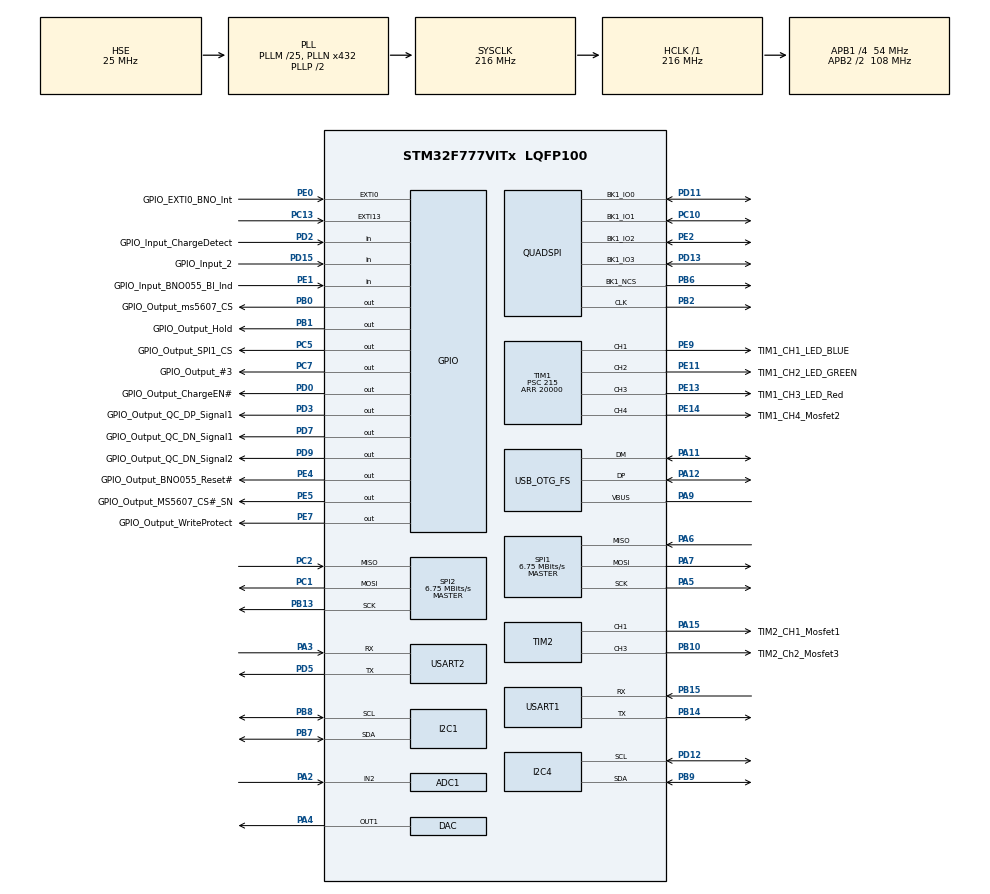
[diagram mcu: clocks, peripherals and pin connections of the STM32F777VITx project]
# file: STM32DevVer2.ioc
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ADC1.Channel-2\#ChannelRegularConversion=ADC_CHANNEL_2
ADC1.ContinuousConvMode=ENABLE
ADC1.DMAContinuousRequests=DISABLE
ADC1.NbrOfConversion=1
ADC1.NbrOfConversionFlag=1
ADC1.Rank-2\#ChannelRegularConversion=1
ADC1.SamplingTime-2\#ChannelRegularConversion=ADC_SAMPLETIME_84CYCLES
ADC1.ScanConvMode=ADC_SCAN_ENABLE
ADC1.master=1
Dma.Request0=USART1_RX
Dma.USART1_RX.0.Direction=DMA_PERIPH_TO_MEMORY
Dma.USART1_RX.0.FIFOMode=DMA_FIFOMODE_DISABLE
Dma.USART1_RX.0.Instance=DMA2_Stream2
Dma.USART1_RX.0.MemDataAlignment=DMA_MDATAALIGN_BYTE
Dma.USART1_RX.0.MemInc=DMA_MINC_ENABLE
Dma.USART1_RX.0.Mode=DMA_CIRCULAR
Dma.USART1_RX.0.PeriphDataAlignment=DMA_PDATAALIGN_BYTE
Dma.USART1_RX.0.PeriphInc=DMA_PINC_DISABLE
Dma.USART1_RX.0.Priority=DMA_PRIORITY_LOW
FATFS._MAX_SS=4096
FATFS._USE_EXPAND=1
FATFS._USE_FIND=1
FATFS._USE_FORWARD=1
FATFS._USE_LFN=2
I2C1.Timing=0x20404768
I2C4.Timing=0x20404768
Mcu.Family=STM32F7
Mcu.Name=STM32F777VITx
Mcu.Package=LQFP100
NVIC.ADC_IRQn=true\:0\:0\:false\:false\:true\:true\:true\:true
NVIC.DMA2_Stream2_IRQn=true\:0\:0\:false\:false\:true\:false\:true\:true
NVIC.EXTI15_10_IRQn=true\:0\:0\:false\:false\:true\:true\:true\:true
NVIC.I2C1_EV_IRQn=true\:0\:0\:false\:false\:true\:true\:true\:true
NVIC.I2C4_ER_IRQn=true\:0\:0\:false\:false\:true\:true\:true\:true
NVIC.I2C4_EV_IRQn=true\:0\:0\:false\:false\:true\:true\:true\:true
NVIC.OTG_FS_IRQn=true\:0\:0\:false\:false\:true\:true\:true\:true
NVIC.PriorityGroup=NVIC_PRIORITYGROUP_4
NVIC.QUADSPI_IRQn=true\:0\:0\:false\:false\:true\:true\:true\:true
NVIC.SPI1_IRQn=true\:0\:0\:false\:false\:true\:true\:true\:true
NVIC.SPI2_IRQn=true\:0\:0\:false\:false\:true\:true\:true\:true
NVIC.USART1_IRQn=true\:0\:0\:false\:false\:true\:true\:true\:true
NVIC.USART2_IRQn=true\:0\:0\:false\:false\:true\:true\:true\:true
PA11.Mode=Device_Only
PA11.Signal=USB_OTG_FS_DM
PA12.Mode=Device_Only
PA12.Signal=USB_OTG_FS_DP
PA13.Mode=Serial_Wire
PA13.Signal=SYS_JTMS-SWDIO
PA14.Mode=Serial_Wire
PA14.Signal=SYS_JTCK-SWCLK
PA15.GPIO_Label=TIM2_CH1_Mosfet1
PA15.Signal=S_TIM2_CH1_ETR
PA2.Signal=ADCx_IN2
PA3.Mode=Asynchronous
PA3.Signal=USART2_RX
PA4.Signal=COMP_DAC1_group
PA5.Mode=Full_Duplex_Master
PA5.Signal=SPI1_SCK
PA6.Mode=Full_Duplex_Master
PA6.Signal=SPI1_MISO
PA7.Mode=Full_Duplex_Master
PA7.Signal=SPI1_MOSI
PA9.Mode=Activate_VBUS
PA9.Signal=USB_OTG_FS_VBUS
PB0.GPIO_Label=GPIO_Output_ms5607_CS
PB0.PinState=GPIO_PIN_SET
PB0.Signal=GPIO_Output
PB1.GPIO_Label=GPIO_Output_Hold
PB1.PinState=GPIO_PIN_SET
PB1.Signal=GPIO_Output
PB10.GPIO_Label=TIM2_Ch2_Mosfet3
PB10.Signal=S_TIM2_CH3
PB13.Mode=Full_Duplex_Master
PB13.Signal=SPI2_SCK
PB14.Mode=Asynchronous
PB14.Signal=USART1_TX
PB15.Mode=Asynchronous
PB15.Signal=USART1_RX
PB2.Mode=Single Bank 1
PB2.Signal=QUADSPI_CLK
PB6.Mode=Single Bank 1
PB6.Signal=QUADSPI_BK1_NCS
PB7.Mode=I2C
PB7.Signal=I2C1_SDA
PB8.Mode=I2C
PB8.Signal=I2C1_SCL
PB9.Mode=I2C
PB9.Signal=I2C4_SDA
PC1.Mode=Full_Duplex_Master
PC1.Signal=SPI2_MOSI
PC10.Mode=Single Bank 1
PC10.Signal=QUADSPI_BK1_IO1
PC13.GPIO_ModeDefaultEXTI=GPIO_MODE_IT_RISING_FALLING
PC13.Signal=GPXTI13
PC2.Mode=Full_Duplex_Master
PC2.Signal=SPI2_MISO
PC5.GPIO_Label=GPIO_Output_SPI1_CS
PC5.PinState=GPIO_PIN_SET
PC5.Signal=GPIO_Output
PC7.GPIO_Label=GPIO_Output_\#3
PC7.Signal=GPIO_Output
PD0.GPIO_Label=GPIO_Output_ChargeEN\#
PD0.PinState=GPIO_PIN_SET
PD0.Signal=GPIO_Output
PD11.Mode=Single Bank 1
PD11.Signal=QUADSPI_BK1_IO0
PD12.Mode=I2C
PD12.Signal=I2C4_SCL
PD13.Mode=Single Bank 1
PD13.Signal=QUADSPI_BK1_IO3
PD15.GPIO_Label=GPIO_Input_2
PD15.Signal=GPIO_Input
PD2.GPIO_Label=GPIO_Input_ChargeDetect
PD2.Signal=GPIO_Input
PD3.GPIO_Label=GPIO_Output_QC_DP_Signal1
PD3.Signal=GPIO_Output
PD5.Mode=Asynchronous
PD5.Signal=USART2_TX
PD7.GPIO_Label=GPIO_Output_QC_DN_Signal1
PD7.Signal=GPIO_Output
PD9.GPIO_Label=GPIO_Output_QC_DN_Signal2
PD9.Signal=GPIO_Output
PE0.GPIO_Label=GPIO_EXTI0_BNO_Int
PE0.Signal=GPXTI0
PE1.GPIO_Label=GPIO_Input_BNO055_BI_Ind
PE1.Signal=GPIO_Input
PE11.GPIO_Label=TIM1_CH2_LED_GREEN
PE11.Signal=S_TIM1_CH2
PE13.GPIO_Label=TIM1_CH3_LED_Red
PE13.Signal=S_TIM1_CH3
PE14.GPIO_Label=TIM1_CH4_Mosfet2
PE14.Signal=S_TIM1_CH4
PE2.Mode=Single Bank 1
PE2.Signal=QUADSPI_BK1_IO2
PE4.GPIO_Label=GPIO_Output_BNO055_Reset\#
PE4.PinState=GPIO_PIN_SET
PE4.Signal=GPIO_Output
PE5.GPIO_Label=GPIO_Output_MS5607_CS\#_SN
PE5.Signal=GPIO_Output
PE7.GPIO_Label=GPIO_Output_WriteProtect
PE7.PinState=GPIO_PIN_SET
PE7.Signal=GPIO_Output
PE9.GPIO_Label=TIM1_CH1_LED_BLUE
PE9.Signal=S_TIM1_CH1
PH0/OSC_IN.Mode=HSE-External-Oscillator
PH0/OSC_IN.Signal=RCC_OSC_IN
PH1/OSC_OUT.Mode=HSE-External-Oscillator
PH1/OSC_OUT.Signal=RCC_OSC_OUT
ProjectManager.HeapSize=0x200
ProjectManager.StackSize=0x400
ProjectManager.TargetToolchain=STM32CubeIDE
QUADSPI.ClockPrescaler=54
QUADSPI.FifoThreshold=32
QUADSPI.FlashSize=23
QUADSPI.SampleShifting=QSPI_SAMPLE_SHIFTING_HALFCYCLE
RCC.AHBFreq_Value=216000000
RCC.APB1CLKDivider=RCC_HCLK_DIV4
RCC.APB1Freq_Value=54000000
RCC.APB1TimFreq_Value=108000000
RCC.APB2CLKDivider=RCC_HCLK_DIV2
RCC.APB2Freq_Value=108000000
RCC.APB2TimFreq_Value=216000000
RCC.CortexFreq_Value=216000000
RCC.HCLKFreq_Value=216000000
RCC.HSE_VALUE=25000000
RCC.HSI_VALUE=16000000
RCC.LSE_VALUE=32768
RCC.PLLM=25
RCC.PLLN=432
RCC.PLLQ=9
RCC.SYSCLKFreq_VALUE=216000000
RCC.SYSCLKSource=RCC_SYSCLKSOURCE_PLLCLK
RCC.USBFreq_Value=48000000
RCC.VCOOutputFreq_Value=432000000
SH.ADCx_IN2.0=ADC1_IN2,IN2
SH.COMP_DAC1_group.0=DAC_OUT1,DAC_OUT1
SH.S_TIM1_CH1.0=TIM1_CH1,PWM Generation1 CH1
SH.S_TIM1_CH2.0=TIM1_CH2,PWM Generation2 CH2
SH.S_TIM1_CH3.0=TIM1_CH3,PWM Generation3 CH3
SH.S_TIM1_CH4.0=TIM1_CH4,PWM Generation4 CH4
SH.S_TIM2_CH1_ETR.0=TIM2_CH1,PWM Generation1 CH1
SH.S_TIM2_CH3.0=TIM2_CH3,PWM Generation3 CH3
SPI1.BaudRatePrescaler=SPI_BAUDRATEPRESCALER_16
SPI1.CalculateBaudRate=6.75 MBits/s
SPI1.DataSize=SPI_DATASIZE_8BIT
SPI1.Direction=SPI_DIRECTION_2LINES
SPI1.Mode=SPI_MODE_MASTER
SPI1.VirtualType=VM_MASTER
SPI2.BaudRatePrescaler=SPI_BAUDRATEPRESCALER_8
SPI2.CalculateBaudRate=6.75 MBits/s
SPI2.DataSize=SPI_DATASIZE_8BIT
SPI2.Direction=SPI_DIRECTION_2LINES
SPI2.Mode=SPI_MODE_MASTER
SPI2.VirtualType=VM_MASTER
STMicroelectronics.X-CUBE-DISPLAY.3.0.0_IsPackSelfContextualization=true
TIM1.AutoReloadPreload=TIM_AUTORELOAD_PRELOAD_ENABLE
TIM1.Channel-PWM\ Generation1\ CH1=TIM_CHANNEL_1
TIM1.Channel-PWM\ Generation2\ CH2=TIM_CHANNEL_2
TIM1.Channel-PWM\ Generation3\ CH3=TIM_CHANNEL_3
TIM1.Channel-PWM\ Generation4\ CH4=TIM_CHANNEL_4
TIM1.Period=20000
TIM1.Prescaler=215
TIM2.Channel-PWM\ Generation1\ CH1=TIM_CHANNEL_1
TIM2.Channel-PWM\ Generation3\ CH3=TIM_CHANNEL_3
USART1.VirtualMode-Asynchronous=VM_ASYNC
USART2.VirtualMode-Asynchronous=VM_ASYNC
USB_DEVICE.CLASS_NAME_FS=CDC
USB_DEVICE.VirtualMode-CDC_FS=Cdc
USB_DEVICE.VirtualModeFS=Cdc_FS
USB_OTG_FS.Sof_enable=ENABLE
USB_OTG_FS.VirtualMode=Device_Only
USB_OTG_FS.lpm_enable=ENABLE
VP_FATFS_VS_Generic.Mode=User_defined
VP_TIM1_VS_ClockSourceINT.Mode=Internal
VP_USB_DEVICE_VS_USB_DEVICE_CDC_FS.Mode=CDC_FS
board=custom

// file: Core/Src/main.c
/* USER CODE BEGIN Header */
/**
 ******************************************************************************
 * @file           : main.c
 * @brief          : Main program body
 ******************************************************************************
 * @attention
 *
 * Copyright (c) 2024 STMicroelectronics.
 * All rights reserved.
 *
 * This software is licensed under terms that can be found in the LICENSE file
 * in the root directory of this software component.
 * If no LICENSE file comes with this software, it is provided AS-IS.
 *
 ******************************************************************************
 */
/* USER CODE END Header */
#include "main.h"
#include "adc.h"
#include "dac.h"
#include "dma.h"
#include "fatfs.h"
#include "i2c.h"
#include "quadspi.h"
#include "spi.h"
#include "tim.h"
#include "usart.h"
#include "usb_device.h"
#include "gpio.h"

/* USER CODE BEGIN Includes */
// #include "stm32746g_qspi.h"
#include "usbd_core.h"
#include "usbd_desc.h"
#include "usbd_cdc.h"
#include "usbd_cdc_if.h"
/* USER CODE END Includes */

/* USER CODE BEGIN PV */
bool isRecordingActivated = false;

uint8_t baroArrayCounter = 0;
uint8_t baroReadingArray[100] = {0};

uint32_t baroInitSampleTime = 0;

uint32_t OneHzCycleTimestamp = 0;
uint32_t TenthHzCycleTimestamp = 0;

uint32_t lastLogWrittenTimestamp = 0;

float versionID = 1.000;
float buildID = 1.060;

tState unitState = INIT;

tBARODATA ms5607Baro = {0};

tDATACHANNEL usbDataChannel = {0};
/* USER CODE END PV */

void SystemClock_Config(void);

int main(void)
{

  /* MCU Configuration--------------------------------------------------------*/

  /* Reset of all peripherals, Initializes the Flash interface and the Systick. */
  HAL_Init();

  /* Configure the system clock */
  SystemClock_Config();

  /* Initialize all configured peripherals */
  MX_GPIO_Init();
  MX_DMA_Init();
  MX_I2C1_Init();
  MX_TIM1_Init();
  MX_TIM2_Init();
  MX_USART1_UART_Init();
  MX_ADC1_Init();
  MX_DAC_Init();
  MX_USB_DEVICE_Init();
  MX_QUADSPI_Init();
  MX_I2C4_Init();
  MX_SPI1_Init();
  MX_SPI2_Init();
  MX_FATFS_Init();
  MX_USART2_UART_Init();
  /* USER CODE BEGIN 2 */

    //  initMS56XXOutputStruct(&ms5607Baro);
    //  initSDCArd();

    led_init();
    initLEDSequences();
    setLEDSequence(&initLEDSequence);

    USBD_Interface_fops_FS.Init();
    HAL_Delay(2000);

    BSP_QSPI_Init();
    fileSystemInit();
    createNewLogFile();

    boardPowerSources.isChargingEnabled = false;

    readADCValues();

    checkPowerSourcesConnection();
    initMS56XXUnit(&onBoardUnit, GPIOB, GPIO_PIN_0, hspi1);
    MS56XXInit(&onBoardUnit);

//    initMS56XXUnit(&smallBoardUnit, GPIOE, GPIO_PIN_5, hspi2);
//    MS56XXInit(&smallBoardUnit);

    baroInitSampleTime = HAL_GetTick();

//    bno = bnoUnitInit(bno);
    unitState = IDLE;
    setLEDSequence(&idleManualLEDSequence);

//    HAL_Delay(3000);
//    // Disable the debug interface (optional but recommended for low-power)
//    DBGMCU->CR &= ~DBGMCU_CR_DBG_SLEEP;  // Disable debug during Sleep mode
//    DBGMCU->CR &= ~DBGMCU_CR_DBG_STOP;   // Disable debug during Stop mode
//    DBGMCU->CR &= ~DBGMCU_CR_DBG_STANDBY; // Disable debug during Standby mode
//
//    // Clear the wake-up flag if set
//    PWR->CR1 |= PWR_CR2_CWUPF1;  // Clear the Wake-up Flag
//
//    PWR->CR1 |= PWR_CR1_CSBF;
//
//    // Set the Standby mode
//    PWR->CR1 |= PWR_CSR1_SBF;    // Set Standby mode (standby mode will be entered automatically after the next WFI/WFE instruction)
//
//    // Enter the Standby mode
//    /* Clear the WU FLAG */
//      __HAL_PWR_CLEAR_FLAG(PWR_FLAG_WU);
//
//       /* clear the RTC Wake UP (WU) flag */
////      __HAL_RTC_WAKEUPTIMER_CLEAR_FLAG(&hrtc, RTC_FLAG_WUTF);
//
//      HAL_PWR_EnterSTOPMode(PWR_LOWPOWERREGULATOR_ON, PWR_STOPENTRY_WFI);
//    __DSB();
//    __WFI();  // Wait For Interrupt - This instruction will cause the MCU to enter Standby mode
//    __ISB();

  /* USER CODE END 2 */

  /* Infinite loop */
  /* USER CODE BEGIN WHILE */
    while (1)
    {
//        readBNODAta(&bno, &smallBoardBNOData, 66); // BNO

        MS56XXCyclicRead(&onBoardUnit); // MS5607
        //	   GetAltitudeAndTemp(&onBoardUnit);

//        MS56XXCyclicRead(&smallBoardUnit); // MS5607
        //	   GetAltitudeAndTemp(&smallBoardUnit);
//        if (HAL_GetTick() - lastLogWrittenTimestamp >= 20)
//        {
//            lastLogWrittenTimestamp = HAL_GetTick();
//            if (((onBoardUnit.Data.isNewBaroDataAvailable) || (smallBoardUnit.Data.isNewBaroDataAvailable)) && (isRecordingActivated))
//            {
//                sprintf(resolvePointerToLogsBuffer(), "%s %s, "
//                                                      "%-6.3f, %-6.3f, "
//                                                      "%-6.3f, %-6.3f, "
//                                                      "%-6.3f, %-6.3f, %-6.3f\r\n",
//                        CT(), (char *)"",
//                        onBoardUnit.Data.rawData.altitude_out, onBoardUnit.Data.rawData.air_pressure_out,
//                        smallBoardUnit.Data.rawData.altitude_out, smallBoardUnit.Data.rawData.air_pressure_out,
//                        smallBoardBNOData.acc.x, smallBoardBNOData.acc.y, smallBoardBNOData.acc.z);
//                logData(false, false, NOCOLOR);
//            }
//        }
    /* USER CODE END WHILE */

    /* USER CODE BEGIN 3 */

        checkButtonPress();

        setLEDSequence(&dummyLEDSequence);
        updateLEDSequence();

        if (HAL_GetTick() - OneHzCycleTimestamp >= 1000)
        {
            OneHzCycleTimestamp = HAL_GetTick();
            readADCValues();
            checkPowerSourcesConnection();
            chargeProcess();
        }

        if (HAL_GetTick() - TenthHzCycleTimestamp >= 10 * 1000)
        {
            //		  TenthHzCycleTimestamp = HAL_GetTick();
            //		  f_sync(&USERFile);
            if (unitState == IDLE)
            {
                if (free_kb <= 5)
                {
                    setLEDSequence(&storageErrorLEDSequence);
                }
            }
        }

        if (usbDataChannel.receivedCR)
        {
            char localArray[128] = "";
            memcpy(&localArray[0], usbDataChannel.channelArray, usbDataChannel.numberOfChars);
            parse((char *)localArray);
            usbDataChannel.numberOfChars = 0;
            usbDataChannel.lastChar = 0;
            memset(usbDataChannel.channelArray, 0, sizeof(usbDataChannel.channelArray));
            usbDataChannel.receivedCR = false;
        }
        monitorLogSize();
    }
  /* USER CODE END 3 */
}

void SystemClock_Config(void)
{
  RCC_OscInitTypeDef RCC_OscInitStruct = {0};
  RCC_ClkInitTypeDef RCC_ClkInitStruct = {0};

  /** Configure the main internal regulator output voltage
  */
  __HAL_RCC_PWR_CLK_ENABLE();
  __HAL_PWR_VOLTAGESCALING_CONFIG(PWR_REGULATOR_VOLTAGE_SCALE1);

  /** Initializes the RCC Oscillators according to the specified parameters
  * in the RCC_OscInitTypeDef structure.
  */
  RCC_OscInitStruct.OscillatorType = RCC_OSCILLATORTYPE_HSE;
  RCC_OscInitStruct.HSEState = RCC_HSE_ON;
  RCC_OscInitStruct.PLL.PLLState = RCC_PLL_ON;
  RCC_OscInitStruct.PLL.PLLSource = RCC_PLLSOURCE_HSE;
  RCC_OscInitStruct.PLL.PLLM = 25;
  RCC_OscInitStruct.PLL.PLLN = 432;
  RCC_OscInitStruct.PLL.PLLP = RCC_PLLP_DIV2;
  RCC_OscInitStruct.PLL.PLLQ = 9;
  RCC_OscInitStruct.PLL.PLLR = 2;
  if (HAL_RCC_OscConfig(&RCC_OscInitStruct) != HAL_OK)
  {
    Error_Handler();
  }

  /** Activate the Over-Drive mode
  */
  if (HAL_PWREx_EnableOverDrive() != HAL_OK)
  {
    Error_Handler();
  }

  /** Initializes the CPU, AHB and APB buses clocks
  */
  RCC_ClkInitStruct.ClockType = RCC_CLOCKTYPE_HCLK|RCC_CLOCKTYPE_SYSCLK
                              |RCC_CLOCKTYPE_PCLK1|RCC_CLOCKTYPE_PCLK2;
  RCC_ClkInitStruct.SYSCLKSource = RCC_SYSCLKSOURCE_PLLCLK;
  RCC_ClkInitStruct.AHBCLKDivider = RCC_SYSCLK_DIV1;
  RCC_ClkInitStruct.APB1CLKDivider = RCC_HCLK_DIV4;
  RCC_ClkInitStruct.APB2CLKDivider = RCC_HCLK_DIV2;

  if (HAL_RCC_ClockConfig(&RCC_ClkInitStruct, FLASH_LATENCY_7) != HAL_OK)
  {
    Error_Handler();
  }
}

void Error_Handler(void)
{
  __disable_irq();
  while (1)
  {
  }
}
